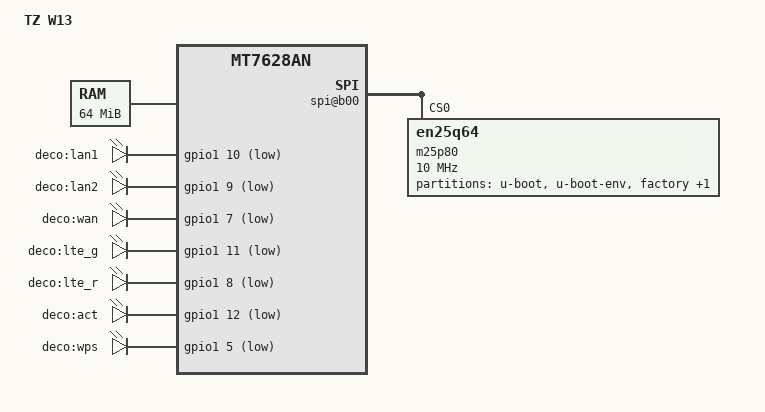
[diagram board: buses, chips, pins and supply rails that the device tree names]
/dts-v1/;

/include/ "mt7628an.dtsi"

/ {
	compatible = "tz,mt7628an-eval-board", "mediatek,mt7628an-soc";
	model = "TZ W13";

	ethernet@10100000 {
		pinctrl-names = "default";
		pinctrl-0 = <&ephy_pins>;
		mtd-mac-address = <&factory 0x28>;
		ralink,port-map = "lwl";
	};

	memory@0 {
		device_type = "memory";
		reg = <0x0 0x4000000>;
	};

	pinctrl {
		state_default: pinctrl0 {
			gpio {
				ralink,group = "gpio", "ephy_p0", "ephy_p3";
				ralink,function = "gpio";
			};
		};
	};

	palmbus@10000000 {
		spi@b00 {
			status = "okay";

			m25p80@0 {
				#address-cells = <1>;
				#size-cells = <1>;
				compatible = "en25q64";
				reg = <0 0>;
				linux,modalias = "m25p80", "en25q64";
				spi-max-frequency = <10000000>;
				m25p,chunked-io = <32>;

				partition@0 {
					label = "u-boot";
					reg = <0x0 0x30000>;
					read-only;
				};

				partition@30000 {
					label = "u-boot-env";
					reg = <0x30000 0x10000>;
					read-only;
				};

				factory: partition@40000 {
					label = "factory";
					reg = <0x40000 0x10000>;
				};

				partition@50000 {
					label = "firmware";
					reg = <0x50000 0xfb0000>;
				};
			};
		};
	};

	gpio-leds {
		compatible = "gpio-leds";
		lan1 {
			label = "deco:lan1";
			gpios = <&gpio1 10 1>;
		};
		lan2 {
			label = "deco:lan2";
			gpios = <&gpio1 9 1>;
		};
		wan {
			label = "deco:wan";
			gpios = <&gpio1 7 1>;
		};
		lte_g {
			label = "deco:lte_g";
			gpios = <&gpio1 11 1>;
		};
		lte_r {
			label = "deco:lte_r";
			gpios = <&gpio1 8 1>;
		};
		act {
			label = "deco:act";
			gpios = <&gpio1 12 1>;
		};
		wps {
			label = "deco:wps";
			gpios = <&gpio1 5 1>;
		};
	};



};
